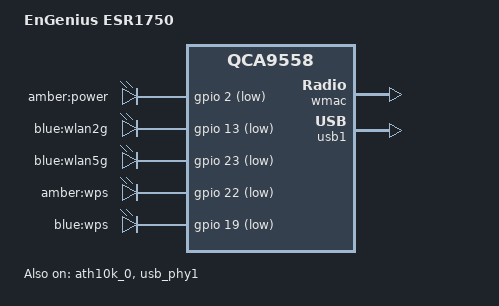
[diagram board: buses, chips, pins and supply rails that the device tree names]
// SPDX-License-Identifier: GPL-2.0-or-later OR MIT

#include "qca955x_senao_router-dual.dts"

/ {
	compatible = "engenius,esr1750", "qca,qca9558";
	model = "EnGenius ESR1750";

	aliases {
		led-boot = &led_power;
		led-failsafe = &led_power;
		led-running = &led_power;
		led-upgrade = &led_power;
	};

	leds {
		compatible = "gpio-leds";

		led_power: power {
			label = "amber:power";
			gpios = <&gpio 2 GPIO_ACTIVE_LOW>;
			default-state = "on";
		};

		wlan2g {
			label = "blue:wlan2g";
			gpios = <&gpio 13 GPIO_ACTIVE_LOW>;
			linux,default-trigger = "phy1tpt";
		};

		wlan5g {
			label = "blue:wlan5g";
			gpios = <&gpio 23 GPIO_ACTIVE_LOW>;
			linux,default-trigger = "phy0tpt";
		};

		wps_amber {
			label = "amber:wps";
			gpios = <&gpio 22 GPIO_ACTIVE_LOW>;
		};

		wps_blue {
			label = "blue:wps";
			gpios = <&gpio 19 GPIO_ACTIVE_LOW>;
		};
	};
};

&phy0 {
	qca,ar8327-initvals = <
		0x04 0x87680000 /* PORT0 PAD MODE CTRL */
		0x7c 0x0000007e /* PORT0_STATUS */
	>;
};

&wmac {
	status = "okay";

	nvmem-cells = <&calibration_wmac>;
	nvmem-cell-names = "calibration";
	mac-address-increment = <1>;
};

&ath10k_0 {
	status = "okay";

	nvmem-cells = <&calibration_pcie>;
	nvmem-cell-names = "calibration";
	mac-address-increment = <2>;
};

&usb_phy1 {
	status = "okay";
};

&usb1 {
	status = "okay";
};

&art {
	compatible = "nvmem-cells";

	calibration_wmac: calibration@1000 {
		reg = <0x1000 0x440>;
	};

	calibration_pcie: calibration@5000 {
		reg = <0x5000 0x844>;
	};
};
